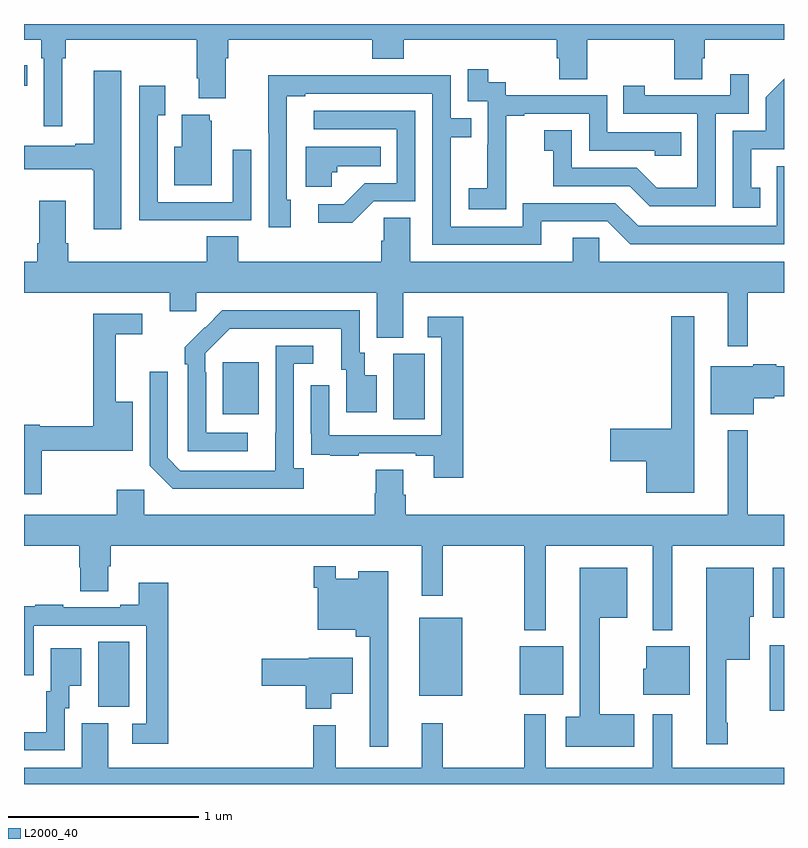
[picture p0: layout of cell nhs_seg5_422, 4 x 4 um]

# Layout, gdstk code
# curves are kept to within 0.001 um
import gdstk
lib = gdstk.Library(unit=1e-6, precision=1e-09)
def R(c, l, rs):  # rectangles x0, y0, x1, y1
    for r in rs: c.add(gdstk.rectangle(r[:2], r[2:], *l))
def P(c, l, *ps):  # polygons
    for p in ps: c.add(gdstk.Polygon(p, *l))
L2000_40 = (2000, 40)

nhs_seg5_422 = lib.new_cell('nhs_seg5_422')
R(nhs_seg5_422, L2000_40, [(140.924,897.185,141,897.529), (137.39,897.205,137.554,897.548), (139.079,897.263,139.306,897.673), (139.61,897.269,139.837,897.523), (140.942,897.674,141,897.937), (138.944,898.72,139.108,899.064), (138.047,898.745,138.235,899.02), (137,900.474,137.018,900.582)])
P(nhs_seg5_422, L2000_40, [(137,900.716),(137.09,900.716),(137.09,900.62),(137.103,900.62),(137.103,900.261),(137.2,900.261),(137.2,900.62),(137.219,900.62),(137.219,900.716),(137.909,900.716),(137.909,900.514),(137.921,900.514),(137.921,900.407),(138.061,900.407),(138.061,900.62),(138.074,900.62),(138.074,900.716),(138.833,900.716),(138.833,900.617),(138.998,900.617),(138.998,900.716),(139.805,900.716),(139.805,900.618),(139.817,900.618),(139.817,900.508),(139.965,900.508),(139.965,900.716),(140.422,900.716),(140.422,900.508),(140.569,900.508),(140.569,900.618),(140.582,900.618),(140.582,900.716),(141,900.716),(141,900.799),(137,900.799)],
  [(139.539,900.031),(139.538,900.031),(139.538,900.315),(139.633,900.315),(139.633,900.327),(139.974,900.327),(139.974,900.132),(140.319,900.132),(140.319,900.105),(140.459,900.105),(140.459,900.228),(140.07,900.228),(140.07,900.423),(139.536,900.423),(139.536,900.492),(139.444,900.492),(139.444,900.562),(139.335,900.562),(139.335,900.393),(139.44,900.393),(139.44,900.164),(139.439,900.164),(139.439,899.935),(139.341,899.935),(139.341,899.825),(139.539,899.825)],
  [(137.512,900.553),(137.366,900.553),(137.366,900.17),(137.27,900.17),(137.27,900.157),(137,900.157),(137,900.035),(137.359,900.035),(137.359,900.028),(137.366,900.028),(137.366,899.718),(137.512,899.718)],
  [(140.64,900.327),(140.814,900.327),(140.814,900.535),(140.717,900.535),(140.717,900.423),(140.266,900.423),(140.266,900.475),(140.155,900.475),(140.155,900.327),(140.544,900.327),(140.544,899.938),(140.33,899.938),(140.226,900.042),(139.884,900.042),(139.884,900.241),(139.737,900.241),(139.737,900.131),(139.786,900.131),(139.786,899.946),(140.189,899.946),(140.294,899.841),(140.64,899.841)],
  [(139.723,899.76),(140.07,899.76),(140.19,899.64),(141,899.64),(141,900.051),(140.961,900.051),(140.961,899.736),(140.232,899.736),(140.112,899.856),(139.626,899.856),(139.626,899.733),(139.245,899.733),(139.245,900.202),(139.355,900.202),(139.355,900.303),(139.245,900.303),(139.245,900.528),(138.749,900.528),(138.749,900.53),(138.286,900.53),(138.286,900.223),(138.288,900.223),(138.288,899.73),(138.403,899.73),(138.403,899.874),(138.384,899.874),(138.384,900.42),(138.481,900.42),(138.481,900.432),(139.149,900.432),(139.149,899.637),(139.723,899.637)],
  [(140.876,899.937),(140.827,899.937),(140.827,900.141),(141,900.141),(141,900.51),(140.904,900.414),(140.904,900.237),(140.73,900.237),(140.73,899.832),(140.876,899.832)],
  [(137.879,899.766),(138.195,899.766),(138.195,900.136),(138.099,900.136),(138.099,899.862),(137.703,899.862),(137.703,900.319),(137.743,900.319),(137.743,900.475),(137.607,900.475),(137.607,899.765),(137.879,899.765)],
  [(138.84,899.865),(139.059,899.865),(139.059,900.342),(138.525,900.342),(138.525,900.246),(138.963,900.246),(138.963,899.961),(138.794,899.961),(138.683,899.85),(138.549,899.85),(138.549,899.753),(138.727,899.753)],
  [(137.989,900.291),(137.978,900.291),(137.978,900.322),(137.831,900.322),(137.831,900.154),(137.792,900.154),(137.792,899.951),(137.989,899.951)],
  [(138.621,900.018),(138.648,900.018),(138.648,900.05),(138.878,900.05),(138.878,900.154),(138.482,900.154),(138.482,899.942),(138.621,899.942)],
  [(137.768,899.286),(137.907,899.286),(137.907,899.384),(138.857,899.384),(138.857,899.149),(138.997,899.149),(138.997,899.384),(140.705,899.384),(140.705,899.103),(140.809,899.103),(140.809,899.384),(141,899.384),(141,899.548),(140.028,899.548),(140.028,899.675),(139.889,899.675),(139.889,899.548),(139.033,899.548),(139.033,899.78),(138.894,899.78),(138.894,899.657),(138.881,899.657),(138.881,899.548),(138.128,899.548),(138.128,899.681),(137.963,899.681),(137.963,899.548),(137.234,899.548),(137.234,899.644),(137.221,899.644),(137.221,899.869),(137.081,899.869),(137.081,899.644),(137.069,899.644),(137.069,899.548),(137,899.548),(137,899.384),(137.768,899.384)],
  [(138.178,898.647),(137.958,898.647),(137.958,898.967),(137.955,898.967),(137.955,899.067),(138.084,899.196),(138.671,899.196),(138.671,898.98),(138.695,898.98),(138.695,898.755),(138.856,898.755),(138.856,898.951),(138.793,898.951),(138.793,899.07),(138.768,899.07),(138.768,899.292),(138.044,899.292),(137.847,899.097),(137.847,899.009),(137.862,899.009),(137.862,898.551),(138.178,898.551)],
  [(137.094,898.554),(137.572,898.554),(137.572,898.81),(137.483,898.81),(137.483,899.166),(137.623,899.166),(137.623,899.274),(137.365,899.274),(137.365,898.682),(137.082,898.682),(137.082,898.69),(137,898.69),(137,898.323),(137.094,898.323)],
  [(140.527,899.26),(140.406,899.26),(140.406,898.67),(140.085,898.67),(140.085,898.499),(140.276,898.499),(140.276,898.331),(140.527,898.331)],
  [(139.313,899.257),(139.125,899.257),(139.125,899.151),(139.197,899.151),(139.197,898.635),(138.606,898.635),(138.606,898.897),(138.51,898.897),(138.51,898.642),(138.511,898.642),(138.511,898.533),(138.613,898.533),(138.613,898.527),(138.761,898.527),(138.761,898.539),(139.061,898.539),(139.061,898.527),(139.157,898.527),(139.157,898.41),(139.313,898.41)],
  [(138.472,898.462),(138.42,898.462),(138.42,899.01),(138.523,899.01),(138.523,899.106),(138.324,899.106),(138.323,898.449),(137.823,898.449),(137.757,898.515),(137.757,898.969),(137.661,898.969),(137.661,898.473),(137.782,898.352),(138.472,898.352)],
  [(140.842,898.829),(140.949,898.829),(140.949,898.841),(141,898.841),(141,898.999),(140.96,898.999),(140.96,899.007),(140.838,899.007),(140.838,898.999),(140.615,898.999),(140.615,898.745),(140.842,898.745)],
  [(139.747,898.052),(140.309,898.052),(140.309,897.608),(140.413,897.608),(140.413,898.052),(141,898.052),(141,898.216),(140.809,898.216),(140.809,898.66),(140.705,898.66),(140.705,898.216),(139.01,898.216),(139.01,898.322),(138.997,898.322),(138.997,898.454),(138.85,898.454),(138.85,898.329),(138.845,898.329),(138.845,898.216),(137.634,898.216),(137.634,898.348),(137.488,898.348),(137.488,898.216),(137,898.216),(137,898.052),(137.291,898.052),(137.291,897.939),(137.296,897.939),(137.296,897.814),(137.443,897.814),(137.443,897.946),(137.456,897.946),(137.456,898.052),(139.094,898.052),(139.094,897.789),(139.204,897.789),(139.204,898.052),(139.633,898.052),(139.633,897.608),(139.747,897.608)],
  [(138.916,897.919),(138.758,897.919),(138.758,897.88),(138.642,897.88),(138.642,897.946),(138.526,897.946),(138.526,897.833),(138.546,897.833),(138.546,897.611),(138.746,897.611),(138.746,897.575),(138.819,897.575),(138.819,896.994),(138.916,896.994)],
  [(140.212,897.167),(140.029,897.167),(140.029,897.674),(140.176,897.674),(140.176,897.937),(139.925,897.937),(139.925,897.154),(139.851,897.154),(139.851,896.996),(140.212,896.996)],
  [(140.705,897.121),(140.695,897.121),(140.695,897.452),(140.821,897.452),(140.821,897.678),(140.842,897.678),(140.842,897.937),(140.591,897.937),(140.591,897.009),(140.705,897.009)],
  [(137.759,897.859),(137.603,897.859),(137.603,897.742),(137.507,897.742),(137.507,897.729),(137.207,897.729),(137.207,897.742),(137.059,897.742),(137.059,897.735),(137,897.735),(137,897.372),(137.052,897.372),(137.052,897.633),(137.643,897.633),(137.643,897.117),(137.571,897.117),(137.571,897.012),(137.759,897.012)],
  [(140.503,897.523),(140.276,897.523),(140.276,897.405),(140.258,897.405),(140.258,897.269),(140.503,897.269)],
  [(137.214,897.198),(137.239,897.198),(137.239,897.317),(137.302,897.317),(137.302,897.514),(137.141,897.514),(137.141,897.288),(137.117,897.288),(137.117,897.072),(137,897.072),(137,896.976),(137.214,896.976)],
  [(138.616,897.275),(138.73,897.275),(138.73,897.463),(138.498,897.463),(138.498,897.458),(138.252,897.458),(138.252,897.316),(138.482,897.316),(138.482,897.194),(138.616,897.194)],
  [(137.443,897.12),(137.303,897.12),(137.303,896.884),(137,896.884),(137,896.799),(141,896.799),(141,896.884),(140.413,896.884),(140.413,897.166),(140.309,897.166),(140.309,896.884),(139.747,896.884),(139.747,897.166),(139.633,897.166),(139.633,896.884),(139.204,896.884),(139.204,897.118),(139.094,897.118),(139.094,896.884),(138.641,896.884),(138.641,897.109),(138.523,897.109),(138.523,896.884),(137.443,896.884)])

lib.write_gds('nhs_seg5_422.gds')
